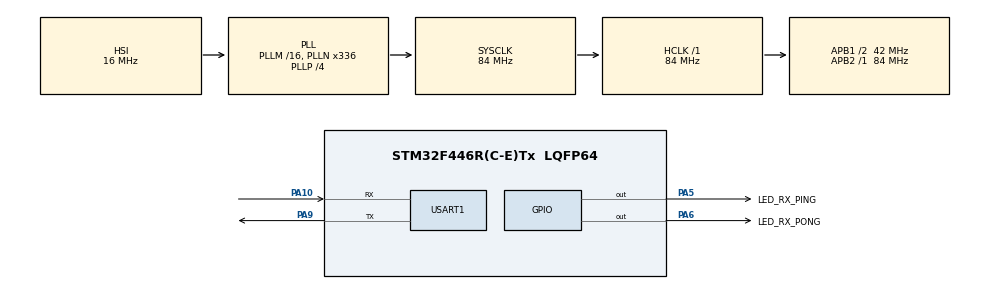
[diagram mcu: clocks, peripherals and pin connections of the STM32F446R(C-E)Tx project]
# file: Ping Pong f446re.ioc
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Dma.Request0=USART1_RX
Dma.Request1=USART1_TX
Dma.USART1_RX.0.Direction=DMA_PERIPH_TO_MEMORY
Dma.USART1_RX.0.FIFOMode=DMA_FIFOMODE_DISABLE
Dma.USART1_RX.0.Instance=DMA2_Stream2
Dma.USART1_RX.0.MemDataAlignment=DMA_MDATAALIGN_BYTE
Dma.USART1_RX.0.MemInc=DMA_MINC_ENABLE
Dma.USART1_RX.0.Mode=DMA_CIRCULAR
Dma.USART1_RX.0.PeriphDataAlignment=DMA_PDATAALIGN_BYTE
Dma.USART1_RX.0.PeriphInc=DMA_PINC_DISABLE
Dma.USART1_RX.0.Priority=DMA_PRIORITY_LOW
Dma.USART1_TX.1.Direction=DMA_MEMORY_TO_PERIPH
Dma.USART1_TX.1.FIFOMode=DMA_FIFOMODE_DISABLE
Dma.USART1_TX.1.Instance=DMA2_Stream7
Dma.USART1_TX.1.MemDataAlignment=DMA_MDATAALIGN_BYTE
Dma.USART1_TX.1.MemInc=DMA_MINC_ENABLE
Dma.USART1_TX.1.Mode=DMA_NORMAL
Dma.USART1_TX.1.PeriphDataAlignment=DMA_PDATAALIGN_BYTE
Dma.USART1_TX.1.PeriphInc=DMA_PINC_DISABLE
Dma.USART1_TX.1.Priority=DMA_PRIORITY_LOW
Mcu.Family=STM32F4
Mcu.Name=STM32F446R(C-E)Tx
Mcu.Package=LQFP64
NVIC.DMA2_Stream2_IRQn=true\:0\:0\:false\:false\:true\:false\:true\:true
NVIC.DMA2_Stream7_IRQn=true\:0\:0\:false\:false\:true\:false\:true\:true
NVIC.PriorityGroup=NVIC_PRIORITYGROUP_0
NVIC.USART1_IRQn=true\:0\:0\:false\:false\:true\:true\:true\:true
PA10.GPIO_PuPd=GPIO_PULLUP
PA10.Mode=Asynchronous
PA10.Signal=USART1_RX
PA5.GPIO_Label=LED_RX_PING
PA5.Signal=GPIO_Output
PA6.GPIO_Label=LED_RX_PONG
PA6.Signal=GPIO_Output
PA9.GPIO_PuPd=GPIO_PULLUP
PA9.Mode=Asynchronous
PA9.Signal=USART1_TX
ProjectManager.HeapSize=0x200
ProjectManager.StackSize=0x400
ProjectManager.TargetToolchain=STM32CubeIDE
RCC.AHBFreq_Value=84000000
RCC.APB1CLKDivider=RCC_HCLK_DIV2
RCC.APB1Freq_Value=42000000
RCC.APB1TimFreq_Value=84000000
RCC.APB2Freq_Value=84000000
RCC.APB2TimFreq_Value=84000000
RCC.CortexFreq_Value=84000000
RCC.FLatency-AdvancedSettings=FLASH_LATENCY_2
RCC.HCLKFreq_Value=84000000
RCC.HSE_VALUE=8000000
RCC.HSI_VALUE=16000000
RCC.LSE_VALUE=32768
RCC.PLLN=336
RCC.PLLP=RCC_PLLP_DIV4
RCC.SYSCLKFreq_VALUE=84000000
RCC.SYSCLKSource=RCC_SYSCLKSOURCE_PLLCLK
RCC.USBFreq_Value=168000000
RCC.VCOOutputFreq_Value=336000000
USART1.VirtualMode=VM_ASYNC
board=NUCLEO-F446RE

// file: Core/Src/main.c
/* USER CODE BEGIN Header */
/**
  ******************************************************************************
  * @file           : main.c
  * @brief          : Main program body
  ******************************************************************************
  * @attention
  *
  * Copyright (c) 2024 STMicroelectronics.
  * All rights reserved.
  *
  * This software is licensed under terms that can be found in the LICENSE file
  * in the root directory of this software component.
  * If no LICENSE file comes with this software, it is provided AS-IS.
  *
  ******************************************************************************
  */
/* USER CODE END Header */
#include "main.h"

/* USER CODE BEGIN Includes */
#include <string.h>
/* USER CODE END Includes */

UART_HandleTypeDef huart1;
DMA_HandleTypeDef hdma_usart1_rx;
DMA_HandleTypeDef hdma_usart1_tx;

/* USER CODE BEGIN PV */
char ping[]="Ping";
char pong[]="Pong";
uint8_t rxBuffer[4];
uint8_t sendPingFlag=1;
/* USER CODE END PV */

void SystemClock_Config(void);
static void MX_GPIO_Init(void);
static void MX_DMA_Init(void);
static void MX_USART1_UART_Init(void);

int main(void)
{

  /* MCU Configuration--------------------------------------------------------*/

  /* Reset of all peripherals, Initializes the Flash interface and the Systick. */
  HAL_Init();

  /* Configure the system clock */
  SystemClock_Config();

  /* Initialize all configured peripherals */
  MX_GPIO_Init();
  MX_DMA_Init();
  MX_USART1_UART_Init();
  /* USER CODE BEGIN 2 */

  //Random delay
  HAL_Delay(200);

  HAL_UART_Receive_DMA(&huart1, (uint8_t *)rxBuffer, 4);

  //at this point if we still didn't receive ping we start by sending it.
  //the rest of the communication is taken care by the txcplt and rxcplt interrupts
  if(sendPingFlag){
	  HAL_UART_Transmit_DMA(&huart1, (uint8_t *) ping, 4);
  }

  /* USER CODE END 2 */

  /* Infinite loop */
  while (1)
  {

  }
}

void SystemClock_Config(void)
{
  RCC_OscInitTypeDef RCC_OscInitStruct = {0};
  RCC_ClkInitTypeDef RCC_ClkInitStruct = {0};

  /** Configure the main internal regulator output voltage
  */
  __HAL_RCC_PWR_CLK_ENABLE();
  __HAL_PWR_VOLTAGESCALING_CONFIG(PWR_REGULATOR_VOLTAGE_SCALE3);

  /** Initializes the RCC Oscillators according to the specified parameters
  * in the RCC_OscInitTypeDef structure.
  */
  RCC_OscInitStruct.OscillatorType = RCC_OSCILLATORTYPE_HSI;
  RCC_OscInitStruct.HSIState = RCC_HSI_ON;
  RCC_OscInitStruct.HSICalibrationValue = RCC_HSICALIBRATION_DEFAULT;
  RCC_OscInitStruct.PLL.PLLState = RCC_PLL_ON;
  RCC_OscInitStruct.PLL.PLLSource = RCC_PLLSOURCE_HSI;
  RCC_OscInitStruct.PLL.PLLM = 16;
  RCC_OscInitStruct.PLL.PLLN = 336;
  RCC_OscInitStruct.PLL.PLLP = RCC_PLLP_DIV4;
  RCC_OscInitStruct.PLL.PLLQ = 2;
  RCC_OscInitStruct.PLL.PLLR = 2;
  if (HAL_RCC_OscConfig(&RCC_OscInitStruct) != HAL_OK)
  {
    Error_Handler();
  }

  /** Initializes the CPU, AHB and APB buses clocks
  */
  RCC_ClkInitStruct.ClockType = RCC_CLOCKTYPE_HCLK|RCC_CLOCKTYPE_SYSCLK
                              |RCC_CLOCKTYPE_PCLK1|RCC_CLOCKTYPE_PCLK2;
  RCC_ClkInitStruct.SYSCLKSource = RCC_SYSCLKSOURCE_PLLCLK;
  RCC_ClkInitStruct.AHBCLKDivider = RCC_SYSCLK_DIV1;
  RCC_ClkInitStruct.APB1CLKDivider = RCC_HCLK_DIV2;
  RCC_ClkInitStruct.APB2CLKDivider = RCC_HCLK_DIV1;

  if (HAL_RCC_ClockConfig(&RCC_ClkInitStruct, FLASH_LATENCY_2) != HAL_OK)
  {
    Error_Handler();
  }
}

static void MX_USART1_UART_Init(void)
{

  huart1.Instance = USART1;
  huart1.Init.BaudRate = 115200;
  huart1.Init.WordLength = UART_WORDLENGTH_8B;
  huart1.Init.StopBits = UART_STOPBITS_1;
  huart1.Init.Parity = UART_PARITY_NONE;
  huart1.Init.Mode = UART_MODE_TX_RX;
  huart1.Init.HwFlowCtl = UART_HWCONTROL_NONE;
  huart1.Init.OverSampling = UART_OVERSAMPLING_16;
  if (HAL_UART_Init(&huart1) != HAL_OK)
  {
    Error_Handler();
  }

}

static void MX_DMA_Init(void)
{

  /* DMA controller clock enable */
  __HAL_RCC_DMA2_CLK_ENABLE();

  /* DMA interrupt init */
  /* DMA2_Stream2_IRQn interrupt configuration */
  HAL_NVIC_SetPriority(DMA2_Stream2_IRQn, 0, 0);
  HAL_NVIC_EnableIRQ(DMA2_Stream2_IRQn);
  /* DMA2_Stream7_IRQn interrupt configuration */
  HAL_NVIC_SetPriority(DMA2_Stream7_IRQn, 0, 0);
  HAL_NVIC_EnableIRQ(DMA2_Stream7_IRQn);

}

static void MX_GPIO_Init(void)
{
  GPIO_InitTypeDef GPIO_InitStruct = {0};

  /* GPIO Ports Clock Enable */
  __HAL_RCC_GPIOA_CLK_ENABLE();

  /*Configure GPIO pin Output Level */
  HAL_GPIO_WritePin(GPIOA, LED_RX_PING_Pin|LED_RX_PONG_Pin, GPIO_PIN_RESET);

  /*Configure GPIO pins : LED_RX_PING_Pin LED_RX_PONG_Pin */
  GPIO_InitStruct.Pin = LED_RX_PING_Pin|LED_RX_PONG_Pin;
  GPIO_InitStruct.Mode = GPIO_MODE_OUTPUT_PP;
  GPIO_InitStruct.Pull = GPIO_NOPULL;
  GPIO_InitStruct.Speed = GPIO_SPEED_FREQ_LOW;
  HAL_GPIO_Init(GPIOA, &GPIO_InitStruct);

}

/* USER CODE BEGIN 4 */
void HAL_UART_TxCpltCallback(UART_HandleTypeDef *huart)
{
	//if the data is sent we prepare to receive the next data
	HAL_UART_Receive_DMA(&huart1, rxBuffer, 4);
}

void HAL_UART_RxCpltCallback(UART_HandleTypeDef *huart)
{
	if(!strcmp(rxBuffer, ping)){
		//if we receive ping we revoke sendPingFlag from this terminal
		sendPingFlag=0;
		//blink the RX_ping LED
		HAL_GPIO_WritePin(LED_RX_PING_GPIO_Port, LED_RX_PING_Pin, GPIO_PIN_SET);
		HAL_Delay(200);
		HAL_GPIO_WritePin(LED_RX_PING_GPIO_Port, LED_RX_PING_Pin, GPIO_PIN_RESET);
		//Respond with pong
		HAL_UART_Transmit_DMA(&huart1, (uint8_t *) pong, 4);
	}
	else if(!strcmp(rxBuffer, pong)){
		//blink the RX_pong LED
		HAL_GPIO_WritePin(LED_RX_PING_GPIO_Port, LED_RX_PING_Pin, GPIO_PIN_SET);
		HAL_Delay(200);
		HAL_GPIO_WritePin(LED_RX_PING_GPIO_Port, LED_RX_PING_Pin, GPIO_PIN_RESET);
		//Send ping Once again
		HAL_UART_Transmit_DMA(&huart1, (uint8_t *) ping, 4);
	}
}

/* USER CODE END 4 */

void Error_Handler(void)
{
  __disable_irq();
  while (1)
  {
  }
}
